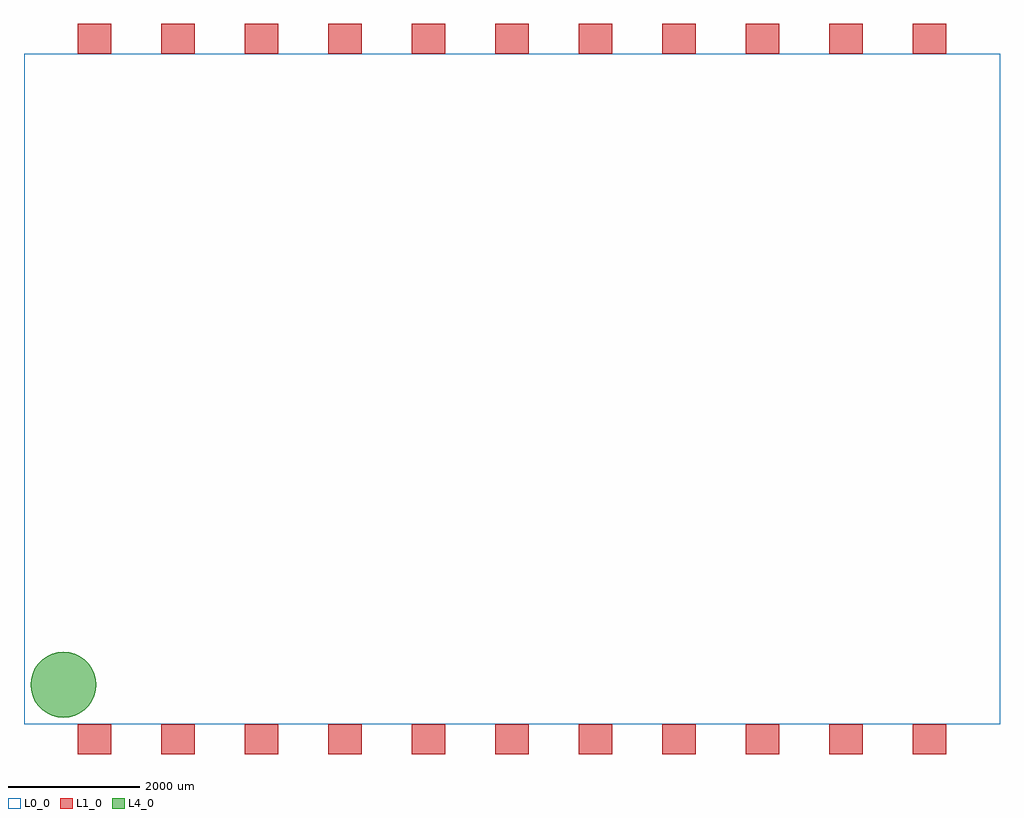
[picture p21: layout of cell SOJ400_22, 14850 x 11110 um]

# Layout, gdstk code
import gdstk
lib = gdstk.Library(unit=1e-6, precision=1e-09)
def R(c, l, rs):  # rectangles x0, y0, x1, y1
    for r in rs: c.add(gdstk.rectangle(r[:2], r[2:], *l))
def A(c, l, x, y, w, h, nx, ny, dx, dy):  # array of equal rectangles
    R(c, l, [(x+i*dx, y+j*dy, x+i*dx+w, y+j*dy+h) for i in range(nx) for j in range(ny)])
def P(c, l, *ps):  # polygons
    for p in ps: c.add(gdstk.Polygon(p, *l))
L0_0 = (0, 0)
L1_0 = (1, 0)
L4_0 = (4, 0)
L99_1 = (99, 1)
L99_2 = (99, 2)
L99_3 = (99, 3)
L99_4 = (99, 4)
L99_5 = (99, 5)
L99_6 = (99, 6)
L99_7 = (99, 7)
L99_8 = (99, 8)
L99_9 = (99, 9)
L99_10 = (99, 10)
L99_11 = (99, 11)
L99_12 = (99, 12)
L99_13 = (99, 13)
L99_14 = (99, 14)
L99_15 = (99, 15)
L99_16 = (99, 16)
L99_17 = (99, 17)
L99_18 = (99, 18)
L99_19 = (99, 19)
L99_20 = (99, 20)
L99_21 = (99, 21)
L99_22 = (99, 22)

soj400_22 = lib.new_cell('SOJ400_22')
R(soj400_22, L0_0, [(0,0,14850,10200)])
A(soj400_22, L1_0, 820, -455, 510, 455, 11, 2, 1270, 10655)
P(soj400_22, L4_0, [(1100,600),(1092.404,513.176),(1069.846,428.99),(1033.013,350),(983.022,278.606),(921.394,216.978),(850,166.987),(771.01,130.154),(686.824,107.596),(600,100),(513.176,107.596),(428.99,130.154),(350,166.987),(278.606,216.978),(216.978,278.606),(166.987,350),(130.154,428.99),(107.596,513.176),(100,600),(107.596,686.824),(130.154,771.01),(166.987,850),(216.978,921.394),(278.606,983.022),(350,1033.013),(428.99,1069.846),(513.176,1092.404),(600,1100),(686.824,1092.404),(771.01,1069.846),(850,1033.013),(921.394,983.022),(983.022,921.394),(1033.013,850),(1069.846,771.01),(1092.404,686.824)])
soj400_22.add(gdstk.FlexPath([(1330,0),(820,0)], 0, ends="round", simple_path=True, layer=99, datatype=1))  # L99_1
soj400_22.add(gdstk.FlexPath([(2600,0),(2090,0)], 0, ends="round", simple_path=True, layer=99, datatype=2))  # L99_2
soj400_22.add(gdstk.FlexPath([(3870,0),(3360,0)], 0, ends="round", simple_path=True, layer=99, datatype=3))  # L99_3
soj400_22.add(gdstk.FlexPath([(5140,0),(4630,0)], 0, ends="round", simple_path=True, layer=99, datatype=4))  # L99_4
soj400_22.add(gdstk.FlexPath([(6410,0),(5900,0)], 0, ends="round", simple_path=True, layer=99, datatype=5))  # L99_5
soj400_22.add(gdstk.FlexPath([(7680,0),(7170,0)], 0, ends="round", simple_path=True, layer=99, datatype=6))  # L99_6
soj400_22.add(gdstk.FlexPath([(8950,0),(8440,0)], 0, ends="round", simple_path=True, layer=99, datatype=7))  # L99_7
soj400_22.add(gdstk.FlexPath([(10220,0),(9710,0)], 0, ends="round", simple_path=True, layer=99, datatype=8))  # L99_8
soj400_22.add(gdstk.FlexPath([(11490,0),(10980,0)], 0, ends="round", simple_path=True, layer=99, datatype=9))  # L99_9
soj400_22.add(gdstk.FlexPath([(12760,0),(12250,0)], 0, ends="round", simple_path=True, layer=99, datatype=10))  # L99_10
soj400_22.add(gdstk.FlexPath([(14030,0),(13520,0)], 0, ends="round", simple_path=True, layer=99, datatype=11))  # L99_11
soj400_22.add(gdstk.FlexPath([(820,10200),(1330,10200)], 0, ends="round", simple_path=True, layer=99, datatype=22))  # L99_22
soj400_22.add(gdstk.FlexPath([(2090,10200),(2600,10200)], 0, ends="round", simple_path=True, layer=99, datatype=21))  # L99_21
soj400_22.add(gdstk.FlexPath([(3360,10200),(3870,10200)], 0, ends="round", simple_path=True, layer=99, datatype=20))  # L99_20
soj400_22.add(gdstk.FlexPath([(4630,10200),(5140,10200)], 0, ends="round", simple_path=True, layer=99, datatype=19))  # L99_19
soj400_22.add(gdstk.FlexPath([(5900,10200),(6410,10200)], 0, ends="round", simple_path=True, layer=99, datatype=18))  # L99_18
soj400_22.add(gdstk.FlexPath([(7170,10200),(7680,10200)], 0, ends="round", simple_path=True, layer=99, datatype=17))  # L99_17
soj400_22.add(gdstk.FlexPath([(8440,10200),(8950,10200)], 0, ends="round", simple_path=True, layer=99, datatype=16))  # L99_16
soj400_22.add(gdstk.FlexPath([(9710,10200),(10220,10200)], 0, ends="round", simple_path=True, layer=99, datatype=15))  # L99_15
soj400_22.add(gdstk.FlexPath([(10980,10200),(11490,10200)], 0, ends="round", simple_path=True, layer=99, datatype=14))  # L99_14
soj400_22.add(gdstk.FlexPath([(12250,10200),(12760,10200)], 0, ends="round", simple_path=True, layer=99, datatype=13))  # L99_13
soj400_22.add(gdstk.FlexPath([(13520,10200),(14030,10200)], 0, ends="round", simple_path=True, layer=99, datatype=12))  # L99_12

lib.write_gds('SOJ400_22.gds')
